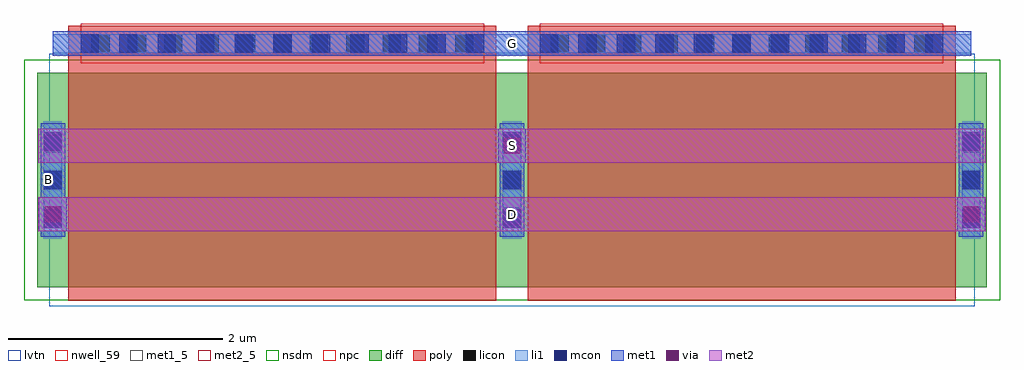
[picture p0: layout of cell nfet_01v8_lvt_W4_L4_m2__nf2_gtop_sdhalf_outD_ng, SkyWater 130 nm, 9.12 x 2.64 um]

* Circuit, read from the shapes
.subckt nfet_01v8_lvt_W4_L4_m2__nf2_gtop_sdhalf_outD_ng B D G S
XM1 S G D B sky130_fd_pr__nfet_01v8_lvt w=2 l=4 m=2
.ends

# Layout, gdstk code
import gdstk
lib = gdstk.Library(unit=1e-6, precision=1e-09)
def R(c, l, rs):  # rectangles x0, y0, x1, y1
    for r in rs: c.add(gdstk.rectangle(r[:2], r[2:], *l))
def A(c, l, x, y, w, h, nx, ny, dx, dy):  # array of equal rectangles
    R(c, l, [(x+i*dx, y+j*dy, x+i*dx+w, y+j*dy+h) for i in range(nx) for j in range(ny)])
nwell_59 = (64, 59)
diff = (65, 20)
poly = (66, 20)
licon = (66, 44)
li1 = (67, 20)
mcon = (67, 44)
met1_5 = (68, 5)
met1 = (68, 20)
via = (68, 44)
met2_5 = (69, 5)
met2 = (69, 20)
nsdm = (93, 44)
npc = (95, 20)
lvtn = (125, 44)

sky130_fd_pr__nfet_01v8_ = lib.new_cell('sky130_fd_pr__nfet_01v8_lvt_Q65FTU')
R(sky130_fd_pr__nfet_01v8_, diff, [(-4.435,-1.155,4.435,0.845)])
R(sky130_fd_pr__nfet_01v8_, poly, [(-4.145,-1.285,-0.145,1.285), (0.145,-1.285,4.145,1.285)])
A(sky130_fd_pr__nfet_01v8_, licon, -4.375, -0.58, 0.17, 0.17, 3, 3, 4.29, 0.34)
A(sky130_fd_pr__nfet_01v8_, licon, -3.93, 1.035, 0.17, 0.17, 11, 1, 0.34, 0)
A(sky130_fd_pr__nfet_01v8_, licon, 0.36, 1.035, 0.17, 0.17, 11, 1, 0.34, 0)
A(sky130_fd_pr__nfet_01v8_, li1, -4.375, -0.705, 0.17, 1.1, 3, 1, 4.29, 0)
R(sky130_fd_pr__nfet_01v8_, li1, [(-4.29,1.035,4.29,1.205)])
A(sky130_fd_pr__nfet_01v8_, mcon, -4.375, -0.6, 0.17, 0.17, 3, 3, 4.29, 0.36)
A(sky130_fd_pr__nfet_01v8_, mcon, -4.03, 1.035, 0.17, 0.17, 11, 1, 0.36, 0)
A(sky130_fd_pr__nfet_01v8_, mcon, 0.26, 1.035, 0.17, 0.17, 11, 1, 0.36, 0)
A(sky130_fd_pr__nfet_01v8_, met1, -4.405, -0.685, 0.23, 1.06, 3, 1, 4.29, 0)
R(sky130_fd_pr__nfet_01v8_, met1, [(-4.125,1.005,-0.165,1.035), (0.165,1.005,4.125,1.035), (-4.29,1.035,4.29,1.205), (-4.125,1.205,-0.165,1.235), (0.165,1.205,4.125,1.235)])
R(sky130_fd_pr__nfet_01v8_, nsdm, [(-4.56,-1.28,4.56,0.97)])
R(sky130_fd_pr__nfet_01v8_, npc, [(-4.03,0.935,-0.26,1.305), (0.26,0.935,4.03,1.305)])
R(sky130_fd_pr__nfet_01v8_, lvtn, [(-4.325,-1.335,4.325,1.025)])
sky130_fd_pr__nfet_01v8_.add(gdstk.Label('D0', (-4.29,-0.155), layer=67, texttype=5))
sky130_fd_pr__nfet_01v8_.add(gdstk.Label('G', (2.145,1.12), layer=67, texttype=5))
sky130_fd_pr__nfet_01v8_.add(gdstk.Label('G', (-2.145,1.12), layer=67, texttype=5))
sky130_fd_pr__nfet_01v8_.add(gdstk.Label('S1', (0,-0.155), layer=67, texttype=5))

nfet_01v8_lvt_w4_l4_m2__ = lib.new_cell('nfet_01v8_lvt_W4_L4_m2__nf2_gtop_sdhalf_outD_ng')
R(nfet_01v8_lvt_w4_l4_m2__, nwell_59, [(0.05,1.08,0.15,1.18)])
R(nfet_01v8_lvt_w4_l4_m2__, met1_5, [(0.145,2.29,8.725,2.52)])
R(nfet_01v8_lvt_w4_l4_m2__, met1, [(0.015,0.65,0.275,0.97), (8.595,0.65,8.855,0.97), (4.305,1.29,4.565,1.61), (0.145,2.29,8.725,2.52)])
R(nfet_01v8_lvt_w4_l4_m2__, via, [(0.07,0.735,0.22,0.885), (8.65,0.735,8.8,0.885), (4.36,1.375,4.51,1.525)])
R(nfet_01v8_lvt_w4_l4_m2__, met2_5, [(0.01,0.65,8.86,0.97), (0.01,1.29,8.86,1.61)])
R(nfet_01v8_lvt_w4_l4_m2__, met2, [(0.01,0.65,8.86,0.97), (0.01,1.29,8.86,1.61)])
nfet_01v8_lvt_w4_l4_m2__.add(gdstk.Reference(sky130_fd_pr__nfet_01v8_, (4.435,1.285)))
nfet_01v8_lvt_w4_l4_m2__.add(gdstk.Label('S', (4.435,1.45), layer=69, texttype=5))
nfet_01v8_lvt_w4_l4_m2__.add(gdstk.Label('D', (4.435,0.81), layer=69, texttype=5))
nfet_01v8_lvt_w4_l4_m2__.add(gdstk.Label('G', (4.435,2.405), layer=68, texttype=5))
nfet_01v8_lvt_w4_l4_m2__.add(gdstk.Label('B', (0.1,1.13), layer=64, texttype=59))

lib.write_gds('nfet_01v8_lvt_W4_L4_m2__nf2_gtop_sdhalf_outD_ng.gds')
